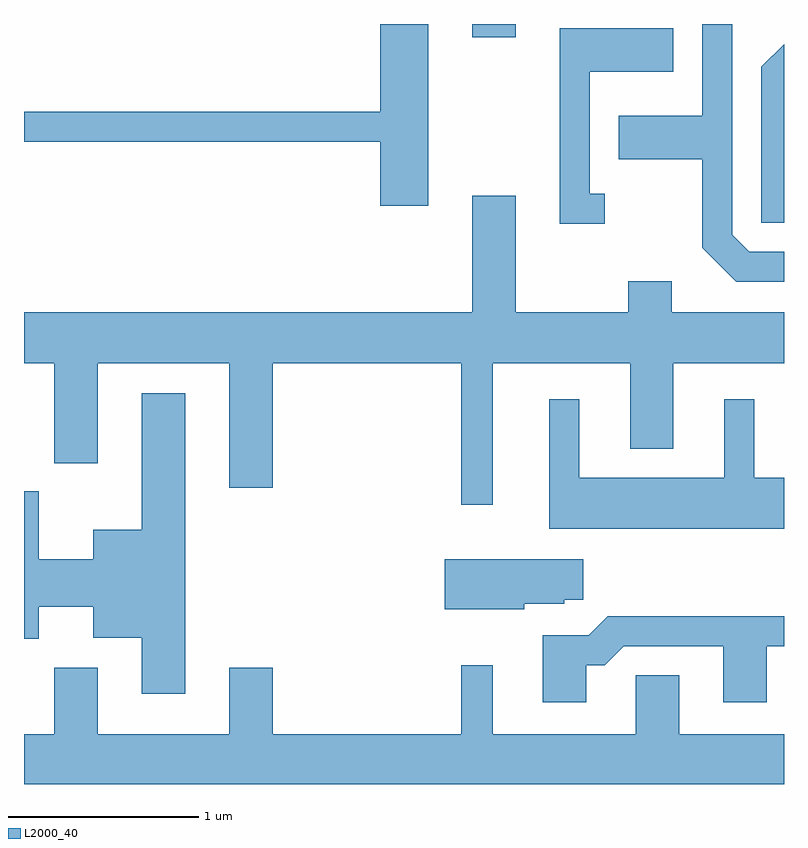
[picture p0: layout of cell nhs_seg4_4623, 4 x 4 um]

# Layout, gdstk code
import gdstk
lib = gdstk.Library(unit=1e-6, precision=1e-09)
def R(c, l, rs):  # rectangles x0, y0, x1, y1
    for r in rs: c.add(gdstk.rectangle(r[:2], r[2:], *l))
def P(c, l, *ps):  # polygons
    for p in ps: c.add(gdstk.Polygon(p, *l))
L2000_40 = (2000, 40)

nhs_seg4_4623 = lib.new_cell('nhs_seg4_4623')
R(nhs_seg4_4623, L2000_40, [(321.971,1391.911,322.199,1391.982)])
P(nhs_seg4_4623, L2000_40, [(323.611,1390.784),(323.427,1390.784),(323.339,1390.872),(323.339,1391.982),(323.181,1391.982),(323.181,1391.499),(322.741,1391.499),(322.741,1391.271),(323.181,1391.271),(323.181,1390.804),(323.359,1390.626),(323.611,1390.626)],
  [(321.739,1391.982),(321.486,1391.982),(321.486,1391.519),(319.611,1391.519),(319.611,1391.361),(321.486,1391.361),(321.486,1391.026),(321.739,1391.026)],
  [(322.668,1391.089),(322.589,1391.089),(322.589,1391.731),(323.029,1391.731),(323.029,1391.959),(322.431,1391.959),(322.431,1390.931),(322.668,1390.931)],
  [(323.611,1391.876),(323.491,1391.757),(323.491,1390.936),(323.611,1390.936)],
  [(322.079,1390.196),(322.801,1390.196),(322.801,1389.746),(323.029,1389.746),(323.029,1390.196),(323.611,1390.196),(323.611,1390.464),(323.019,1390.464),(323.019,1390.629),(322.791,1390.629),(322.791,1390.464),(322.199,1390.464),(322.199,1391.079),(321.971,1391.079),(321.971,1390.464),(319.611,1390.464),(319.611,1390.196),(319.771,1390.196),(319.771,1389.671),(319.999,1389.671),(319.999,1390.196),(320.691,1390.196),(320.691,1389.541),(320.919,1389.541),(320.919,1390.196),(321.911,1390.196),(321.911,1389.453),(322.079,1389.453)],
  [(320.459,1390.039),(320.231,1390.039),(320.231,1389.319),(319.976,1389.319),(319.976,1389.164),(319.689,1389.164),(319.689,1389.524),(319.611,1389.524),(319.611,1388.746),(319.689,1388.746),(319.689,1388.916),(319.976,1388.916),(319.976,1388.751),(320.231,1388.751),(320.231,1388.456),(320.459,1388.456)],
  [(323.611,1389.594),(323.454,1389.594),(323.454,1390.008),(323.296,1390.008),(323.296,1389.594),(322.534,1389.594),(322.534,1390.008),(322.376,1390.008),(322.376,1389.326),(323.611,1389.326)],
  [(322.244,1388.931),(322.454,1388.931),(322.454,1388.951),(322.554,1388.951),(322.554,1389.164),(321.826,1389.164),(321.826,1388.901),(322.244,1388.901)],
  [(322.569,1388.606),(322.667,1388.606),(322.767,1388.706),(323.291,1388.706),(323.291,1388.411),(323.519,1388.411),(323.519,1388.706),(323.611,1388.706),(323.611,1388.864),(322.684,1388.864),(322.584,1388.764),(322.341,1388.764),(322.341,1388.411),(322.569,1388.411)],
  [(323.611,1388.244),(323.059,1388.244),(323.059,1388.554),(322.831,1388.554),(322.831,1388.244),(322.079,1388.244),(322.079,1388.608),(321.911,1388.608),(321.911,1388.244),(320.919,1388.244),(320.919,1388.594),(320.691,1388.594),(320.691,1388.244),(319.999,1388.244),(319.999,1388.594),(319.771,1388.594),(319.771,1388.244),(319.611,1388.244),(319.611,1387.982),(323.611,1387.982)])

lib.write_gds('nhs_seg4_4623.gds')
